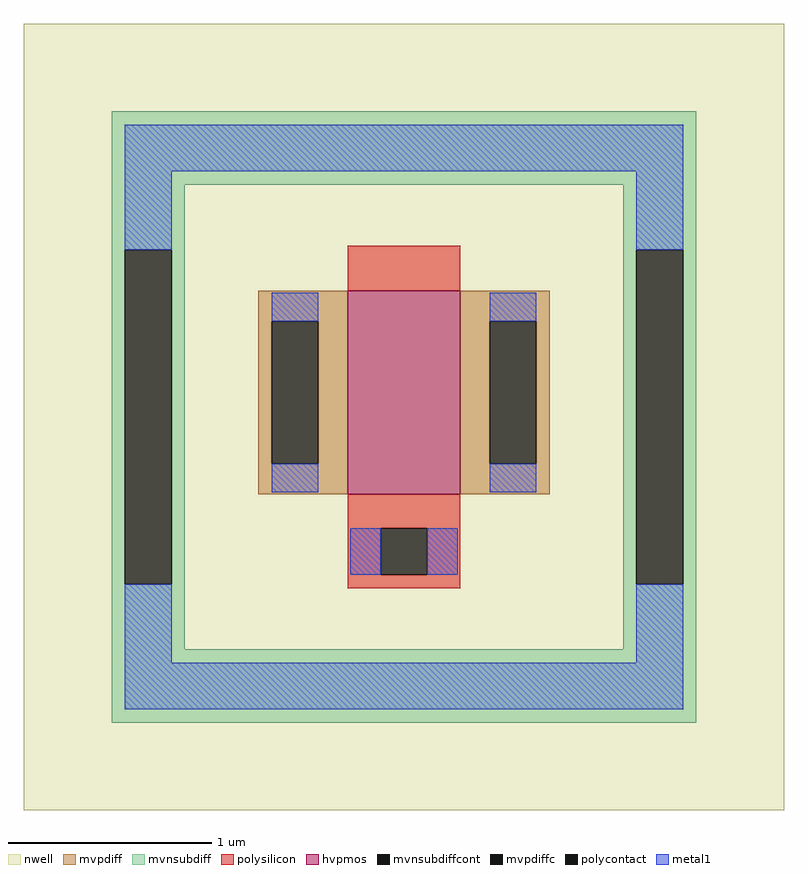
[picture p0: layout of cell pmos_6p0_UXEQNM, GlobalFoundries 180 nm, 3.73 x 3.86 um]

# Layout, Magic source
magic
tech gf180mcuD
magscale 1 10
<< nwell >>
rect -378 -386 368 386
<< hvpmos >>
rect -60 -76 50 124
<< mvpdiff >>
rect -148 94 -60 124
rect -148 -46 -135 94
rect -89 -46 -60 94
rect -148 -76 -60 -46
rect 50 94 138 124
rect 50 -46 79 94
rect 125 -46 138 94
rect 50 -76 138 -46
<< mvpdiffc >>
rect -135 -46 -89 94
rect 79 -46 125 94
<< mvnsubdiff >>
rect -292 228 282 300
rect -292 164 -220 228
rect -292 -164 -279 164
rect -233 -164 -220 164
rect 210 164 282 228
rect -292 -228 -220 -164
rect 210 -164 223 164
rect 269 -164 282 164
rect 210 -228 282 -164
rect -292 -300 282 -228
<< mvnsubdiffcont >>
rect -279 -164 -233 164
rect 223 -164 269 164
<< polysilicon >>
rect -60 124 50 168
rect -60 -109 50 -76
rect -60 -155 -28 -109
rect 18 -155 50 -109
rect -60 -168 50 -155
<< polycontact >>
rect -28 -155 18 -109
<< metal1 >>
rect -279 241 269 287
rect -279 164 -233 241
rect 223 164 269 241
rect -135 94 -89 122
rect -135 -74 -89 -46
rect 79 94 125 122
rect 79 -74 125 -46
rect -58 -155 -28 -109
rect 18 -155 48 -109
rect -279 -241 -233 -164
rect 223 -241 269 -164
rect -279 -287 269 -241
<< properties >>
string FIXED_BBOX -246 -264 246 264
string GDS_END 26636
string GDS_FILE ../gds/simple_por.gds.gz
string GDS_START 24072
<< end >>
